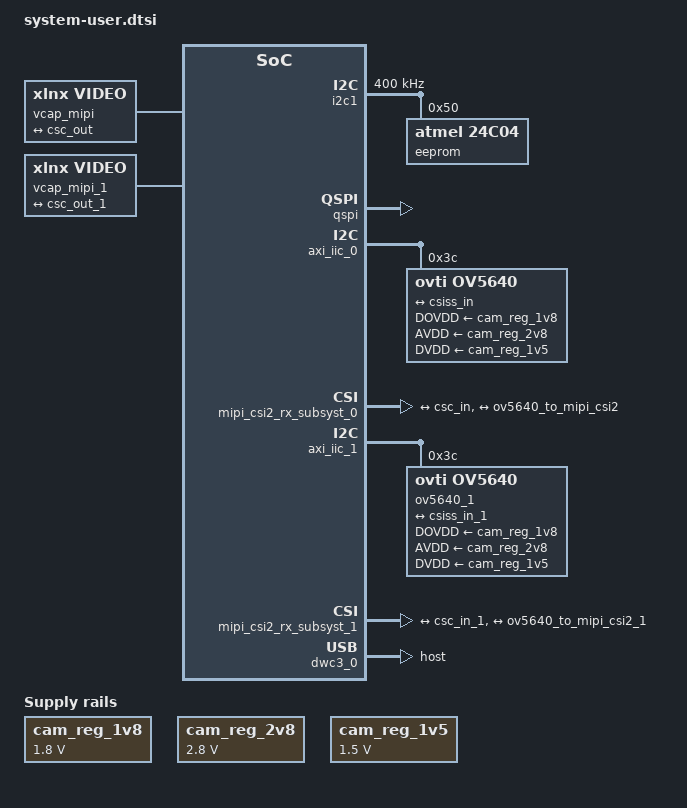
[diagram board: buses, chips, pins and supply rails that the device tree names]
/include/ "system-conf.dtsi"
/ {
	misc_clk_a: misc_clk_a {
		#clock-cells = <0>;
		clock-frequency = <12000000>;
		compatible = "fixed-clock";
	};
	cam_reg_1v8: regulator-1v8 {
		compatible = "regulator-fixed";
		regulator-name = "1v8";
		regulator-min-microvolt = <1800000>;
		regulator-max-microvolt = <1800000>;
	};
	cam_reg_2v8: regulator-2v8 {
		compatible = "regulator-fixed";
		regulator-name = "2v8";
		regulator-min-microvolt = <2800000>;
		regulator-max-microvolt = <2800000>;
	};
	cam_reg_1v5: regulator-1v5 {
		compatible = "regulator-fixed";
		regulator-name = "1v5";
		regulator-min-microvolt = <1500000>;
		regulator-max-microvolt = <1500000>;
	};
};

&fan_gpio {
	xlnx,dout-default = <0x00000001>;
};

&i2c1 {
        clock-frequency = <400000>;
        eeprom@50{
                compatible = "atmel,24c04";
                reg = <0x50>;
                pagesize = <16>;
        };
};

&qspi {
        status = "okay";
};

&flash0 {
	is-dual = <0>;
	num-cs = <1>;
	spi-rx-bus-width = <4>;
        spi-tx-bus-width = <4>;
        compatible ="jedec,spi-nor";
        reg= <0x0>;
};

&axi_iic_0 {
	ov5640: camera@3c {
		compatible = "ovti,ov5640";
		reg = <0x3c>;
		clocks = <&misc_clk_a>;
		clock-names = "xclk";
		/* rotation = <180>; */
		DOVDD-supply = <&cam_reg_1v8>;
		AVDD-supply = <&cam_reg_2v8>;
		DVDD-supply = <&cam_reg_1v5>;
		port {
			/* MIPI CSI-2 bus endpoint */
			ov5640_to_mipi_csi2: endpoint {
				remote-endpoint = <&csiss_in>;
				clock-lanes = <0>;
				data-lanes = <1 2>;
			};
		};
	};
};

&mipi_csi2_rx_subsyst_0{
	compatible = "xlnx,mipi-csi2-rx-subsystem-2.0";
	csiss_ports: ports {
		#address-cells = <1>;
		#size-cells = <0>;
		csiss_port0: port@0 {
			reg = <0>;

			xlnx,video-format = <0>;
			xlnx,video-width = <8>;

			csiss_out: endpoint {
				remote-endpoint = <&csc_in>;
			};
		};
		csiss_port1: port@1 {
			reg = <1>;

			xlnx,video-format = <0>;
			xlnx,video-width = <8>;

			csiss_in: endpoint {
				data-lanes = <1 2>;
				remote-endpoint = <&ov5640_to_mipi_csi2>;
			};
		};
	};
};

&v_proc_ss_0{
	compatible = "xlnx,v-vpss-csc";
	reset-gpios = <&gpio 86 1>;
	csc_ports: ports {
		#address-cells = <1>;
		#size-cells = <0>;
		csc_port0: port@0 {
			reg = <0>;
			xlnx,video-format = <3>;
			xlnx,video-width = <8>;
			csc_in: endpoint {
				remote-endpoint = <&csiss_out>;
			};
		};
		csc_port1: port@1 {
			reg = <1>;
			xlnx,video-format = <3>;
			xlnx,video-width = <8>;
			csc_out: endpoint {
				remote-endpoint = <&vcap_in>;
			};
		};
	};
};

&v_frmbuf_wr_0 {
	compatible = "xlnx,axi-frmbuf-wr-v2.1";
	reset-gpios = <&gpio 85 1>;
};

&axi_iic_1 {
	ov5640_1: camera@3c {
		compatible = "ovti,ov5640";
		reg = <0x3c>;
		clocks = <&misc_clk_a>;
		clock-names = "xclk";
		/* rotation = <180>; */
		DOVDD-supply = <&cam_reg_1v8>;
		AVDD-supply = <&cam_reg_2v8>;
		DVDD-supply = <&cam_reg_1v5>;
		port {
			/* MIPI CSI-2 bus endpoint */
			ov5640_to_mipi_csi2_1: endpoint {
				remote-endpoint = <&csiss_in_1>;
				clock-lanes = <0>;
				data-lanes = <1 2>;
			};
		};
	};
};

&mipi_csi2_rx_subsyst_1{
	compatible = "xlnx,mipi-csi2-rx-subsystem-2.0";
	csiss_ports_1: ports {
		#address-cells = <1>;
		#size-cells = <0>;
		csiss_port0_1: port@0 {
			reg = <0>;

			xlnx,video-format = <0>;
			xlnx,video-width = <8>;

			csiss_out_1: endpoint {
				remote-endpoint = <&csc_in_1>;
			};
		};
		csiss_port1_1: port@1 {
			reg = <1>;

			xlnx,video-format = <0>;
			xlnx,video-width = <8>;

			csiss_in_1: endpoint {
				data-lanes = <1 2>;
				remote-endpoint = <&ov5640_to_mipi_csi2_1>;
			};
		};
	};
};

&v_proc_ss_1{
	compatible = "xlnx,v-vpss-csc";
	reset-gpios = <&gpio 88 1>;
	csc_ports_1: ports {
		#address-cells = <1>;
		#size-cells = <0>;
		csc_port0_1: port@0 {
			reg = <0>;
			xlnx,video-format = <3>;
			xlnx,video-width = <8>;
			csc_in_1: endpoint {
				remote-endpoint = <&csiss_out_1>;
			};
		};
		csc_port1_1: port@1 {
			reg = <1>;
			xlnx,video-format = <3>;
			xlnx,video-width = <8>;
			csc_out_1: endpoint {
				remote-endpoint = <&vcap_in_1>;
			};
		};
	};
};


&v_frmbuf_wr_1 {
	compatible = "xlnx,axi-frmbuf-wr-v2.1";
	reset-gpios = <&gpio 87 1>;
};

&amba_pl {
	vcap_mipi {
		compatible = "xlnx,video";
		dma-names = "port0";
		dmas = <&v_frmbuf_wr_0 0>;
		vcap_ports: ports {
			#address-cells = <1>;
			#size-cells = <0>;
			vcap_port: port@0 {
				direction = "input";
				reg = <0>;
				vcap_in: endpoint {
					remote-endpoint = <&csc_out>;
				};
			};
		};
	};
	
	vcap_mipi_1 {
		compatible = "xlnx,video";
		dma-names = "port0";
		dmas = <&v_frmbuf_wr_1 0>;
		vcap_ports_1: ports {
			#address-cells = <1>;
			#size-cells = <0>;
			vcap_port_1: port@0 {
				direction = "input";
				reg = <0>;
				vcap_in_1: endpoint {
					remote-endpoint = <&csc_out_1>;
				};
			};
		};
	};
};

/* SD */
&sdhci1 {
	disable-wp;
	no-1-8-v;
};

/* USB  */
&dwc3_0 {
    status = "okay";
    dr_mode = "host";
};

